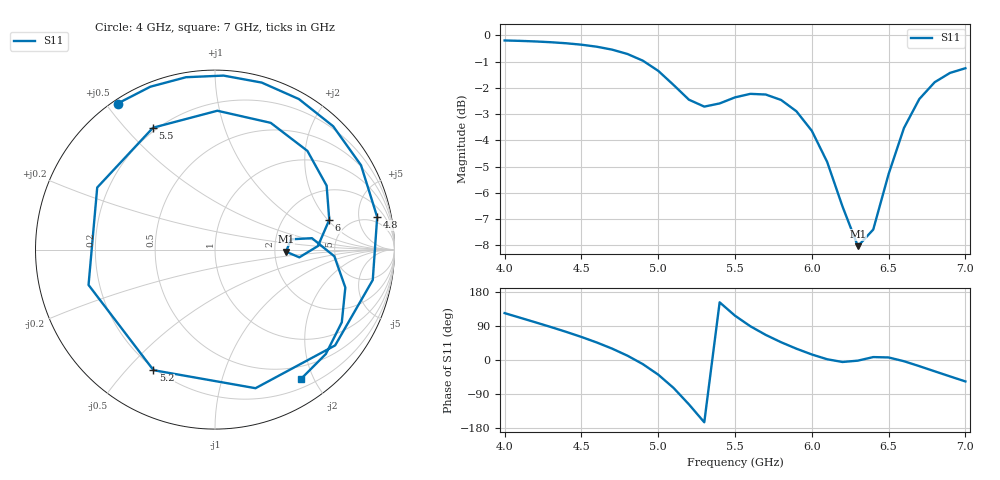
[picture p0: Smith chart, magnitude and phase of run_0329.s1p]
! Touchstone file exported from HFSS 2024.2.0
!  File:  C:/Users/wsak9/Desktop/Sim Fast/Widenad Patch/WP_AI_V1_sweep.aedt
!  Generated:  04:56:21 AM Oct 14, 2026
!  Design:  A1_model
!  Project:  WP_AI_V1_sweep
!  Setup:  Setup1
!  Solution:  Sweep
! Variables:
!  Air_gap = 4.56mm
!  Curve_Amp1 = 2.39
!  Curve_len1 = 1
!  Curve_pos = 9.735mm
!  Extra = 2.28mm
!  H_sub = 0.79mm
!  L_Patch = 15.47mm
!  L_Patch1 = 11.08mm
!  Sx = 3.02mm
!  Sy = 1.74mm
!  WS = 0.45mm
!  W_Patch = 11.95mm
!  W_Patch1 = 8.8mm
!Data is not renormalized
# GHz S MA
! Terminal data exported
! Port[1] = 1
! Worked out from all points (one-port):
!   31 points, 4 GHz to 7 GHz, reference per port
!   lowest |S11| = -8.0 dB at 6.3 GHz (marker M1), VSWR 2.31
!   |S11| at or under -10 dB: nowhere
!   S11 on the Smith chart (normalised r, x): 4 GHz: 0.01, +0.53; 4.8 GHz: 3.56, +8.59; 5.2 GHz: 0.19, -0.60; 5.5 GHz: 0.18, +0.60; 6 GHz: 3.55, +2.08; 7 GHz: 0.31, -1.82
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4  0.9782 123.7
4.2  0.9739 99.5
4.4  0.9662 74.4
4.5  0.9602 60.9
4.6  0.9517 46.2
4.7  0.9395 30.0
4.8  0.9217 11.4
4.9  0.8951 -10.9
5  0.8561 -38.6
5.1  0.8046 -73.7
5.2  0.7542 -117.0
5.3  0.7316 -164.4
5.4  0.7418 152.2
5.5  0.7619 117.0
5.6  0.7737 89.0
5.7  0.7715 66.3
5.8  0.7532 46.9
5.9  0.7167 29.8
6  0.658 14.6
6.1  0.5738 2.0
6.2  0.4718 -5.3
6.3  0.3964 -1.7
6.4  0.4264 7.7
6.5  0.544 6.7
6.6  0.666 -3.2
6.7  0.7563 -16.2
6.8  0.8143 -29.8
7  0.8658 -56.6
